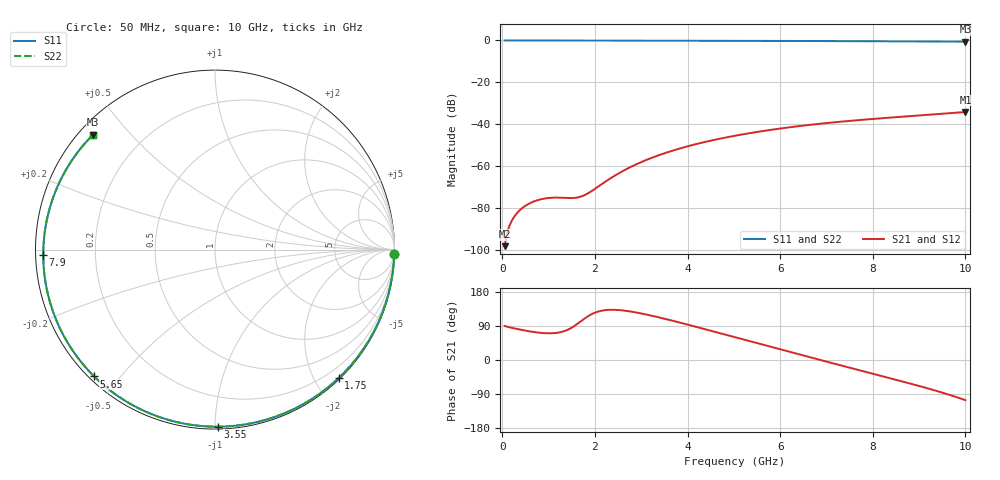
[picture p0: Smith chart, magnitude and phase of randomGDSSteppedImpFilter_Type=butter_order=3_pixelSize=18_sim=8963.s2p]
! freq	dB(S11)	phase(S11)	dB(S12)	phase(S12)
!  dB(S21)	phase(S21)	dB(S22)	phase(S22)
!S-par simulation data
#  GHz  S  DB  R 50
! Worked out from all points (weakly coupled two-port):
!   200 points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, 50 MHz to 10 GHz, reference 50 ohm
!   highest |S21| = -34.24 dB at 10 GHz (marker M1); lowest = -98.3 dB at 50 MHz (marker M2)
!   lowest |S11| = -0.6 dB at 10 GHz (marker M3), VSWR 29.14, Z = 1.99 + j19.8 ohm
!   |S11| at or under -10 dB: nowhere
!   |S22| runs from -0.6 to 0.0 dB; largest |S21 - S12| = 0
!   S11 on the Smith chart (normalised r, x): 50 MHz: 4, -88; 1.75 GHz: 0.02, -2.35; 3.55 GHz: 0.01, -1.01; 5.65 GHz: 0.01, -0.43; 7.9 GHz: 0.02, -0.01; 10 GHz: 0.04, +0.40
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0.05  -0.01 -1.3  -98.34 89.9  -98.34 89.9  -0.01 -1.3
0.45  -0.02 -12.1  -79.79 78.6  -79.79 78.6  -0.02 -12.1
0.7  -0.02 -18.7  -76.81 73.5  -76.81 73.5  -0.02 -18.7
0.95  -0.03 -25.4  -75.44 70.6  -75.44 70.6  -0.03 -25.4
1.55  -0.05 -41.0  -75.29 89.2  -75.29 89.2  -0.05 -41.0
1.75  -0.06 -46.1  -74.20 107.1  -74.20 107.1  -0.06 -46.1
1.9  -0.06 -49.8  -72.41 119.1  -72.41 119.1  -0.06 -49.8
2.2  -0.07 -57.3  -67.89 131.2  -67.89 131.2  -0.07 -57.3
2.65  -0.09 -68.2  -61.86 130.1  -61.86 130.1  -0.09 -68.2
3  -0.10 -76.5  -58.16 122.8  -58.16 122.8  -0.10 -76.5
3.4  -0.11 -85.8  -54.70 112.0  -54.70 112.0  -0.11 -85.8
3.55  -0.12 -89.1  -53.58 107.5  -53.58 107.5  -0.12 -89.1
4.25  -0.14 -104.6  -49.19 85.4  -49.19 85.4  -0.14 -104.6
5.05  -0.18 -121.4  -45.45 59.3  -45.45 59.3  -0.18 -121.4
5.65  -0.21 -133.6  -43.23 39.7  -43.23 39.7  -0.21 -133.6
6.2  -0.25 -144.6  -41.52 21.7  -41.52 21.7  -0.25 -144.6
6.7  -0.28 -154.5  -40.20 5.5  -40.20 5.5  -0.28 -154.5
7.3  -0.33 -166.4  -38.85 -13.9  -38.85 -13.9  -0.33 -166.4
7.9  -0.38 -178.4  -37.71 -33.1  -37.71 -33.1  -0.38 -178.4
8.35  -0.42 172.5  -36.93 -47.4  -36.93 -47.4  -0.42 172.5
9.2  -0.51 154.6  -35.51 -75.3  -35.51 -75.3  -0.51 154.6
10  -0.60 136.7  -34.24 -105.9  -34.24 -105.9  -0.60 136.7
